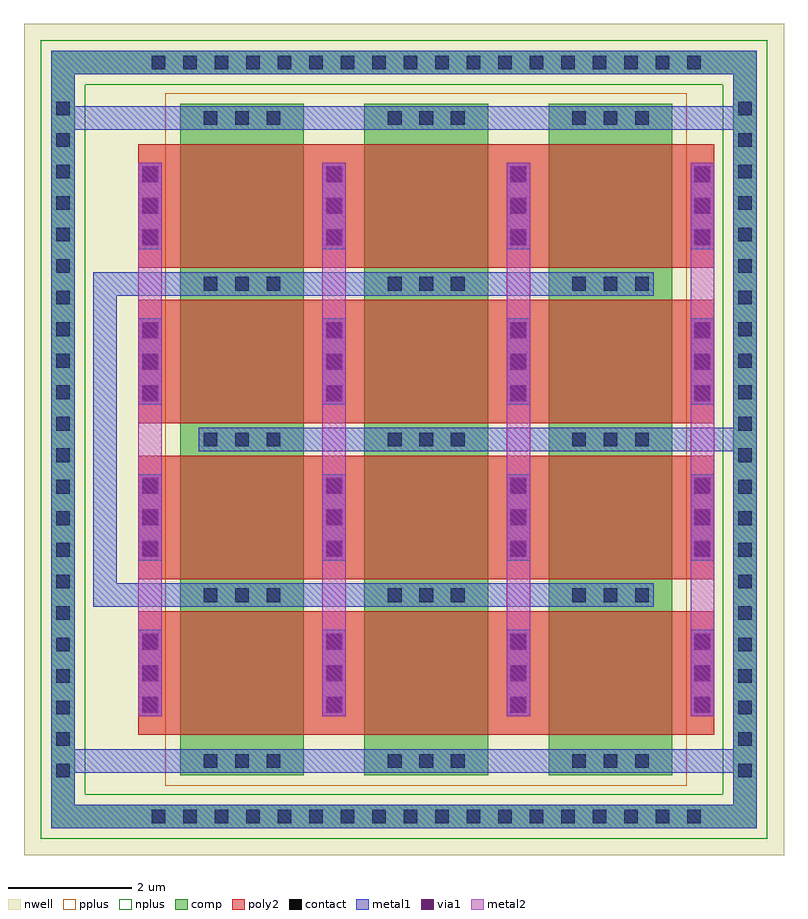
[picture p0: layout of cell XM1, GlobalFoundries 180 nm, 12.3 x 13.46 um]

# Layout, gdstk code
from math import pi, radians
import gdstk
lib = gdstk.Library(unit=1e-6, precision=1e-09)
def R(c, l, rs):  # rectangles x0, y0, x1, y1
    for r in rs: c.add(gdstk.rectangle(r[:2], r[2:], *l))
def A(c, l, x, y, w, h, nx, ny, dx, dy):  # array of equal rectangles
    R(c, l, [(x+i*dx, y+j*dy, x+i*dx+w, y+j*dy+h) for i in range(nx) for j in range(ny)])
def P(c, l, *ps):  # polygons
    for p in ps: c.add(gdstk.Polygon(p, *l))
nwell = (21, 0)
comp = (22, 0)
poly2 = (30, 0)
pplus = (31, 0)
nplus = (32, 0)
contact = (33, 0)
metal1 = (34, 0)
via1 = (35, 0)
metal2 = (36, 0)

pfet_1 = lib.new_cell('pfet$1')
R(pfet_1, nwell, [(-0.9,-0.44,10.84,2.44)])
R(pfet_1, comp, [(-0.46,0,0,2), (0,0,9.94,2), (9.94,0,10.4,2)])
A(pfet_1, poly2, 0.19, -0.3, 2, 2.6, 4, 1, 2.52, 0)
R(pfet_1, poly2, [(0.19,-0.68,2.19,-0.3), (5.23,-0.68,7.23,-0.3), (2.71,2.3,4.71,2.68), (7.75,2.3,9.75,2.68)])
R(pfet_1, pplus, [(-0.63,-0.24,10.57,2.24)])
A(pfet_1, contact, 0.57, -0.6, 0.22, 0.22, 3, 1, 0.51, 0)
A(pfet_1, contact, 5.61, -0.6, 0.22, 0.22, 3, 1, 0.51, 0)
A(pfet_1, contact, -0.34, 0.38, 0.22, 0.22, 1, 3, 0, 0.51)
A(pfet_1, contact, 2.34, 0.38, 0.22, 0.22, 3, 3, 2.52, 0.51)
A(pfet_1, contact, 10.06, 0.38, 0.22, 0.22, 1, 3, 0, 0.51)
A(pfet_1, contact, 3.09, 2.38, 0.22, 0.22, 3, 1, 0.51, 0)
A(pfet_1, contact, 8.13, 2.38, 0.22, 0.22, 3, 1, 0.51, 0)
A(pfet_1, metal1, 2.26, 0.3, 0.38, 1.4, 3, 1, 2.52, 0)
R(pfet_1, metal1, [(0.49,-0.68,1.89,-0.3), (5.53,-0.68,6.93,-0.3), (-0.42,0.3,-0.04,1.7), (9.98,0.3,10.36,1.7), (3.01,2.3,4.41,2.68), (8.05,2.3,9.45,2.68)])

xm1 = lib.new_cell('XM1')
R(xm1, nwell, [(-9.925,-10.92,2.375,2.54), (-7.835,-10.06,1.005,1.68)])
P(xm1, comp, [(-9.485,-10.48),(-9.485,2.1),(1.935,2.1),(1.935,-10.48),(1.555,-10.48),(1.555,-10.1),(1.555,1.72),(-9.105,1.72),(-9.105,-10.1),(1.555,-10.1),(1.555,-10.48)])
R(xm1, pplus, [(-7.635,-9.79,0.805,1.41)])
P(xm1, nplus, [(-9.655,-10.65),(-9.655,2.27),(2.105,2.27),(2.105,-10.65),(1.385,-10.65),(1.385,-9.93),(1.385,1.55),(-8.935,1.55),(-8.935,-9.93),(1.385,-9.93),(1.385,-10.65)])
A(xm1, contact, -7.86, -10.4, 0.22, 0.22, 18, 2, 0.51, 12.2)
A(xm1, contact, -9.405, -9.655, 0.22, 0.22, 1, 22, 0, 0.51)
A(xm1, contact, 1.635, -9.655, 0.22, 0.22, 1, 22, 0, 0.51)
A(xm1, metal1, 0.265, -9.58, 1.325, 0.38, 1, 3, 0, 5.2)
A(xm1, metal1, -7.095, -6.9, 7.36, 0.38, 1, 3, 0, 2.52)
R(xm1, metal1, [(-9.13,-9.58,-7.095,-9.2), (-7.095,-9.58,0.265,-9.2), (-9.13,0.82,-7.095,1.2), (-9.13,0.82,-7.095,1.2), (-7.095,0.82,0.265,1.2), (0.265,0.82,1.59,1.2)])
P(xm1, metal1, [(-9.485,-10.48),(-9.485,2.1),(1.935,2.1),(1.935,-10.48),(1.555,-10.48),(1.555,-10.1),(1.555,1.72),(-9.105,1.72),(-9.105,-10.1),(1.555,-10.1),(1.555,-10.48)])
A(xm1, via1, -8.015, -8.61, 0.26, 0.26, 4, 3, 2.98, 0.51)
A(xm1, via1, -8.015, -6.09, 0.26, 0.26, 4, 3, 2.98, 0.51)
A(xm1, via1, -8.015, -3.57, 0.26, 0.26, 4, 3, 2.98, 0.51)
A(xm1, via1, -8.015, -1.05, 0.26, 0.26, 4, 3, 2.98, 0.51)
A(xm1, metal2, -8.075, -8.67, 0.38, 8.96, 4, 1, 2.98, 0)
xm1.add(gdstk.FlexPath([(-7.095,-6.71),(-8.615,-6.71),(-8.615,-1.67),(-7.095,-1.67)], 0.38, ends="flush", simple_path=True, layer=34, datatype=0))  # metal1
xm1.add(gdstk.Reference(pfet_1, (-7.395,0.78), rotation=3*pi/2))
xm1.add(gdstk.Reference(pfet_1, (-7.395,0.78), rotation=3*pi/2))
xm1.add(gdstk.Reference(pfet_1, (-7.395,-9.16), rotation=pi/2, x_reflection=True))
xm1.add(gdstk.Reference(pfet_1, (-7.395,0.78), rotation=3*pi/2))
xm1.add(gdstk.Reference(pfet_1, (-7.395,0.78), rotation=3*pi/2))
xm1.add(gdstk.Reference(pfet_1, (-7.395,-9.16), rotation=pi/2, x_reflection=True))
xm1.add(gdstk.Reference(pfet_1, (-4.415,0.78), rotation=3*pi/2))
xm1.add(gdstk.Reference(pfet_1, (-4.415,0.78), rotation=3*pi/2))
xm1.add(gdstk.Reference(pfet_1, (-4.415,-9.16), rotation=pi/2, x_reflection=True))
xm1.add(gdstk.Reference(pfet_1, (-4.415,0.78), rotation=3*pi/2))
xm1.add(gdstk.Reference(pfet_1, (-4.415,0.78), rotation=3*pi/2))
xm1.add(gdstk.Reference(pfet_1, (-4.415,-9.16), rotation=pi/2, x_reflection=True))
xm1.add(gdstk.Reference(pfet_1, (-1.435,0.78), rotation=3*pi/2))
xm1.add(gdstk.Reference(pfet_1, (-1.435,0.78), rotation=3*pi/2))
xm1.add(gdstk.Reference(pfet_1, (-1.435,-9.16), rotation=pi/2, x_reflection=True))
xm1.add(gdstk.Reference(pfet_1, (-1.435,0.78), rotation=3*pi/2))
xm1.add(gdstk.Reference(pfet_1, (-1.435,0.78), rotation=3*pi/2))
xm1.add(gdstk.Reference(pfet_1, (-1.435,-9.16), rotation=pi/2, x_reflection=True))

lib.write_gds('XM1.gds')
